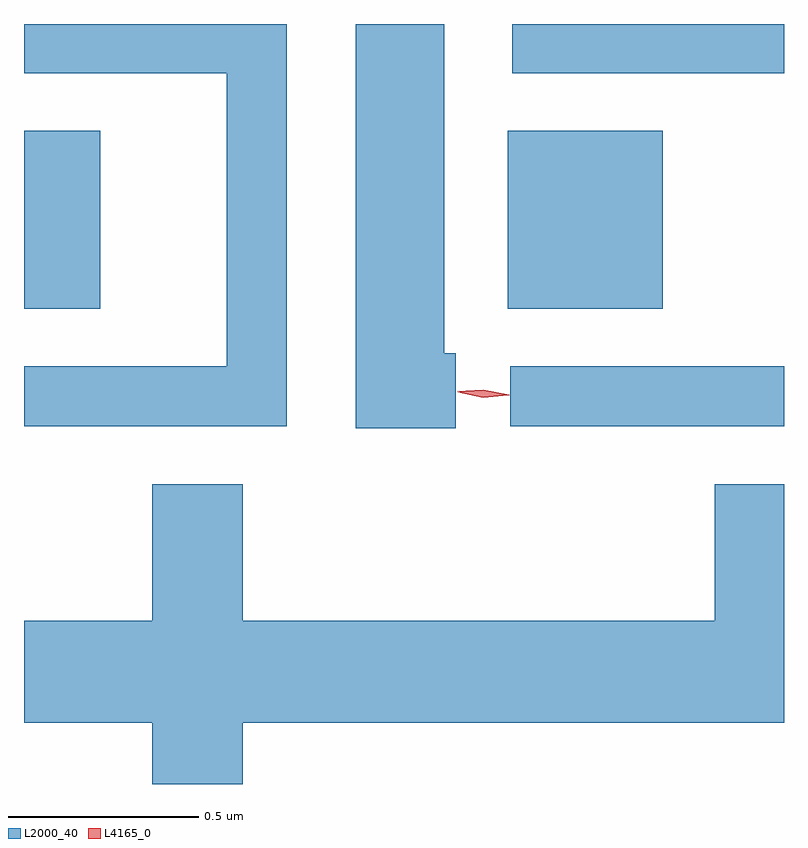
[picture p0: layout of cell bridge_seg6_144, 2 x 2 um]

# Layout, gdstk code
import gdstk
lib = gdstk.Library(unit=1e-6, precision=1e-09)
def R(c, l, rs):  # rectangles x0, y0, x1, y1
    for r in rs: c.add(gdstk.rectangle(r[:2], r[2:], *l))
def P(c, l, *ps):  # polygons
    for p in ps: c.add(gdstk.Polygon(p, *l))
L2000_40 = (2000, 40)
L4165_0 = (4165, 0)

bridge_seg6_144 = lib.new_cell('bridge_seg6_144')
R(bridge_seg6_144, L2000_40, [(1026.708,1661.816,1027.428,1661.974), (1025.428,1662.126,1025.629,1662.594), (1026.701,1662.126,1027.109,1662.594), (1026.713,1662.746,1027.428,1662.875)])
P(bridge_seg6_144, L2000_40, [(1026.564,1662.009),(1026.534,1662.009),(1026.534,1662.875),(1026.301,1662.875),(1026.301,1661.811),(1026.564,1661.811)],
  [(1026.119,1662.875),(1025.428,1662.875),(1025.428,1662.746),(1025.961,1662.746),(1025.961,1661.974),(1025.428,1661.974),(1025.428,1661.816),(1026.119,1661.816)],
  [(1026.004,1661.036),(1027.428,1661.036),(1027.428,1661.664),(1027.246,1661.664),(1027.246,1661.304),(1026.004,1661.304),(1026.004,1661.664),(1025.766,1661.664),(1025.766,1661.304),(1025.428,1661.304),(1025.428,1661.036),(1025.766,1661.036),(1025.766,1660.875),(1026.004,1660.875)])
P(bridge_seg6_144, L4165_0, [(1026.636,1661.894),(1026.568,1661.908),(1026.567,1661.908),(1026.568,1661.909),(1026.637,1661.913),(1026.705,1661.899),(1026.705,1661.898),(1026.705,1661.898)],
  [(1026.636,1661.892),(1026.57,1661.906),(1026.57,1661.906),(1026.57,1661.906),(1026.636,1661.912),(1026.702,1661.899),(1026.702,1661.898),(1026.702,1661.898)])

lib.write_gds('bridge_seg6_144.gds')
